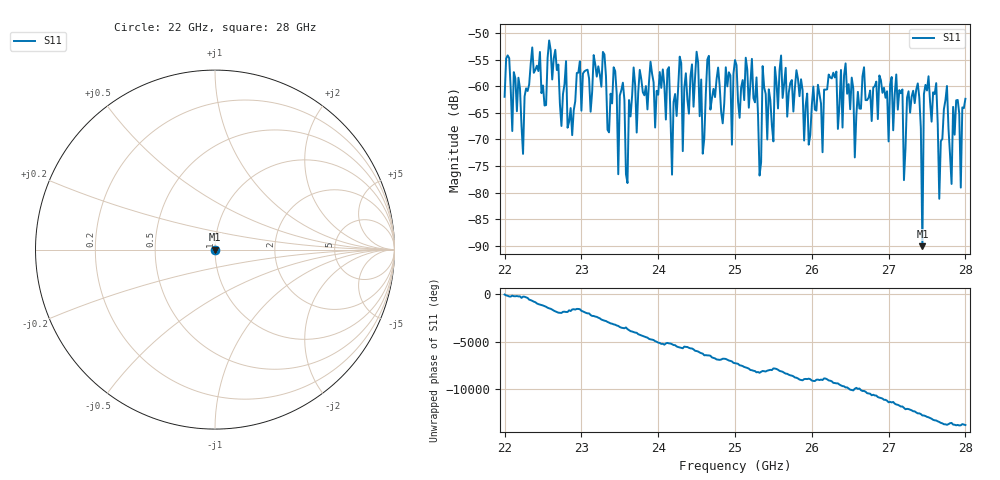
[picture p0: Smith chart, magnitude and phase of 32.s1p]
#  HZ  S  RI  R  50.00
! Rohde & Schwarz ZVA40 4Ports - Version 3.90 - 1145.1110k42 SN: 100403
! Date: 2023-10-04 06:54:42
! Measurement: S12
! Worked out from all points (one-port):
!   301 points, 22 GHz to 28 GHz, reference 50 ohm
!   lowest |S11| = -90.1 dB at 27.44 GHz (marker M1), VSWR 1.00, Z = 50 - j0.000416 ohm
!   |S11| at or under -10 dB: start of sweep to end of sweep
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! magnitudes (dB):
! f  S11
! 22 GHz  -62.0
! 22.76 GHz  -61.5
! 23.42 GHz  -56.4
! 23.48 GHz  -76.5
! 23.5 GHz  -61.8
! 23.6 GHz  -78.2
! 23.68 GHz  -56.5
! 24.14 GHz  -56.4
! 24.18 GHz  -76.6
! 24.26 GHz  -60.3
! 24.96 GHz  -71.0
! 25 GHz  -55.1
! 25.28 GHz  -58.3
! 25.32 GHz  -76.8
! 25.36 GHz  -56.2
! 25.76 GHz  -64.8
! 26.5 GHz  -64.3
! 27.1 GHz  -57.8
! 27.2 GHz  -77.7
! 27.26 GHz  -60.9
! 27.38 GHz  -59.5
! 27.44 GHz  -90.1
! 27.52 GHz  -58.1
! 27.62 GHz  -59.4
! 27.66 GHz  -81.2
! 27.76 GHz  -60.0
! 27.82 GHz  -78.4
! 28 GHz  -62.4
